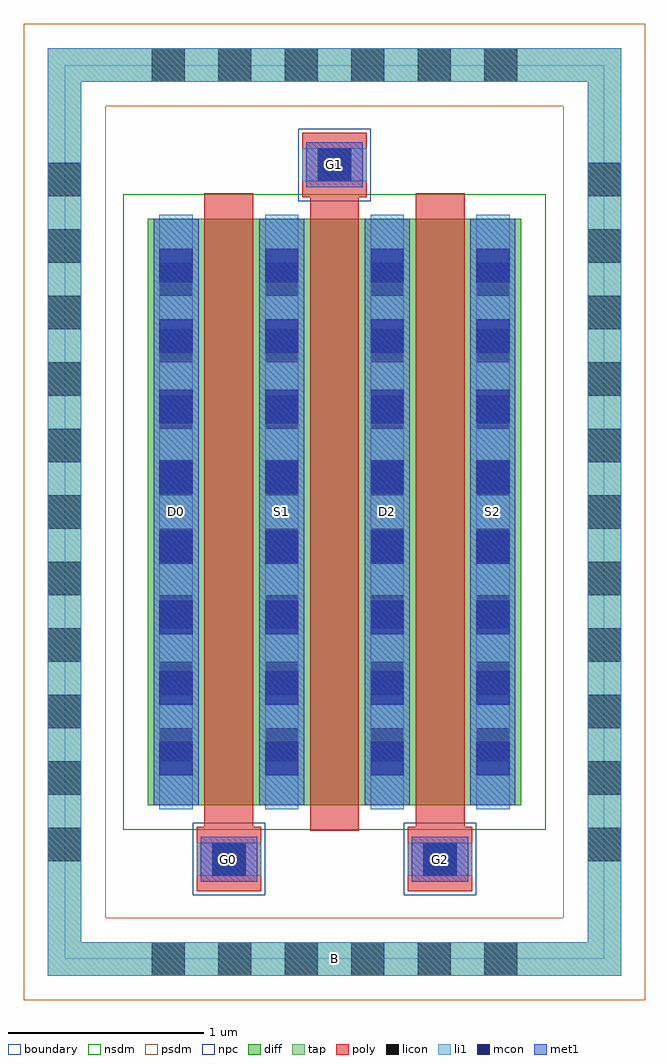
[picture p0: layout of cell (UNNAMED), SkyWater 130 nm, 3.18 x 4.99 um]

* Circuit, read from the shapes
.subckt (UNNAMED) B D0 D2 G0 G1 G2 S1 S2
XM1 S1 G0 D0 B sky130_fd_pr__nfet_01v8 w=3 l=0.25
XM2 D2 G1 S1 B sky130_fd_pr__nfet_01v8 w=3 l=0.25
XM3 S2 G2 D2 B sky130_fd_pr__nfet_01v8 w=3 l=0.25
.ends

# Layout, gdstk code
import gdstk
lib = gdstk.Library(unit=1e-6, precision=1e-09)
def R(c, l, rs):  # rectangles x0, y0, x1, y1
    for r in rs: c.add(gdstk.rectangle(r[:2], r[2:], *l))
def A(c, l, x, y, w, h, nx, ny, dx, dy):  # array of equal rectangles
    R(c, l, [(x+i*dx, y+j*dy, x+i*dx+w, y+j*dy+h) for i in range(nx) for j in range(ny)])
diff = (65, 20)
tap = (65, 44)
poly = (66, 20)
licon = (66, 44)
li1 = (67, 20)
mcon = (67, 44)
met1 = (68, 20)
nsdm = (93, 44)
psdm = (94, 20)
npc = (95, 20)
boundary = (235, 4)

c__unnamed_ = lib.new_cell('(UNNAMED)')
R(c__unnamed_, diff, [(-0.955,-1.5,0.955,1.5)])
R(c__unnamed_, tap, [(-1.465,-2.37,1.465,-2.2), (-1.465,-2.2,-1.295,2.2), (1.295,-2.2,1.465,2.2), (-1.465,2.2,1.465,2.37)])
R(c__unnamed_, poly, [(-0.705,-1.94,-0.375,-1.61), (0.375,-1.94,0.705,-1.61), (-0.125,-1.63,0.125,1.61), (-0.665,-1.61,-0.415,1.63), (0.415,-1.61,0.665,1.63), (-0.165,1.61,0.165,1.94)])
A(c__unnamed_, licon, -0.935, -2.37, 0.17, 0.17, 6, 2, 0.34, 4.57)
A(c__unnamed_, licon, -1.465, -1.785, 0.17, 0.17, 1, 11, 0, 0.34)
A(c__unnamed_, licon, 1.295, -1.785, 0.17, 0.17, 1, 11, 0, 0.34)
A(c__unnamed_, licon, -0.895, -1.275, 0.17, 0.17, 4, 8, 0.54, 0.34)
R(c__unnamed_, licon, [(-0.625,-1.86,-0.455,-1.69), (0.455,-1.86,0.625,-1.69), (-0.085,1.69,0.085,1.86)])
A(c__unnamed_, li1, -0.895, -1.52, 0.17, 3.04, 4, 1, 0.54, 0)
R(c__unnamed_, li1, [(-1.465,-2.37,1.465,-2.2), (-1.465,-2.2,-1.295,2.2), (1.295,-2.2,1.465,2.2), (-0.705,-1.86,-0.375,-1.69), (0.375,-1.86,0.705,-1.69), (-0.165,1.69,0.165,1.86), (-1.465,2.2,1.465,2.37)])
A(c__unnamed_, mcon, -0.895, -1.345, 0.17, 0.17, 4, 8, 0.54, 0.36)
R(c__unnamed_, mcon, [(-0.625,-1.86,-0.455,-1.69), (0.455,-1.86,0.625,-1.69), (-0.085,1.69,0.085,1.86)])
A(c__unnamed_, met1, -0.925, -1.5, 0.23, 3, 4, 1, 0.54, 0)
R(c__unnamed_, met1, [(-0.685,-1.89,-0.395,-1.66), (0.395,-1.89,0.685,-1.66), (-0.145,1.66,0.145,1.89)])
R(c__unnamed_, nsdm, [(-1.08,-1.625,1.08,1.625)])
R(c__unnamed_, psdm, [(-1.59,-2.495,1.59,-2.075), (-1.59,-2.075,-1.17,2.075), (1.17,-2.075,1.59,2.075), (-1.59,2.075,1.59,2.495)])
R(c__unnamed_, npc, [(-0.725,-1.96,-0.355,-1.59), (0.355,-1.96,0.725,-1.59), (-0.185,1.59,0.185,1.96)])
R(c__unnamed_, boundary, [(-1.38,-2.285,1.38,2.285)])
c__unnamed_.add(gdstk.Label('B', (0,-2.285), layer=67, texttype=5))
c__unnamed_.add(gdstk.Label('D0', (-0.81,0), layer=67, texttype=5))
c__unnamed_.add(gdstk.Label('G0', (-0.54,-1.775), layer=67, texttype=5))
c__unnamed_.add(gdstk.Label('S1', (-0.27,0), layer=67, texttype=5))
c__unnamed_.add(gdstk.Label('G1', (0,1.775), layer=67, texttype=5))
c__unnamed_.add(gdstk.Label('D2', (0.27,0), layer=67, texttype=5))
c__unnamed_.add(gdstk.Label('S2', (0.81,0), layer=67, texttype=5))
c__unnamed_.add(gdstk.Label('G2', (0.54,-1.775), layer=67, texttype=5))

lib.write_gds('_UNNAMED_.gds')
